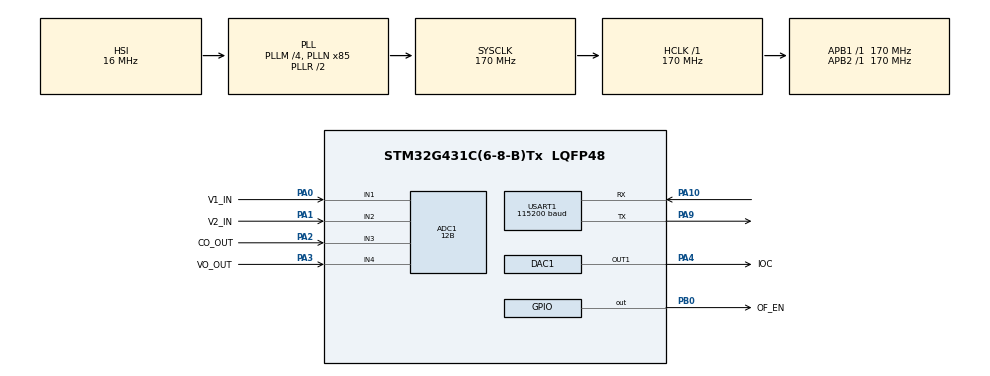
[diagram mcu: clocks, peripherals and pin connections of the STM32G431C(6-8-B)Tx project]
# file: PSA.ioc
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ADC1.Channel-0\#ChannelRegularConversion=ADC_CHANNEL_1
ADC1.Channel-1\#ChannelRegularConversion=ADC_CHANNEL_2
ADC1.Channel-2\#ChannelRegularConversion=ADC_CHANNEL_3
ADC1.Channel-3\#ChannelRegularConversion=ADC_CHANNEL_4
ADC1.Channel-4\#ChannelRegularConversion=ADC_CHANNEL_TEMPSENSOR_ADC1
ADC1.Channel-5\#ChannelRegularConversion=ADC_CHANNEL_VREFINT
ADC1.Channel-IN=ADC_CHANNEL_TEMPSENSOR_ADC1
ADC1.Channel-IN1=ADC_CHANNEL_1
ADC1.Channel-IN2=ADC_CHANNEL_2
ADC1.Channel-IN3=ADC_CHANNEL_3
ADC1.Channel-IN4=ADC_CHANNEL_4
ADC1.ChannelVREF=ADC_CHANNEL_VREFINT
ADC1.ClockPrescaler=ADC_CLOCK_ASYNC_DIV64
ADC1.ContinuousConvMode=ENABLE
ADC1.DMAContinuousRequests=ENABLE
ADC1.DataAlign=ADC_DATAALIGN_RIGHT
ADC1.DiscontinuousConvMode=DISABLE
ADC1.EOCSelection=ADC_EOC_SINGLE_CONV
ADC1.EnableAnalogWatchDog1=false
ADC1.EnableAnalogWatchDog2=false
ADC1.EnableAnalogWatchDog3=false
ADC1.EnableInjectedConversion=DISABLE
ADC1.EnableRegularConversion=ENABLE
ADC1.ExternalTrigConv=ADC_SOFTWARE_START
ADC1.ExternalTrigConvEdge=ADC_EXTERNALTRIGCONVEDGE_NONE
ADC1.GainCompensation=0
ADC1.LowPowerAutoWait=DISABLE
ADC1.Mode=ADC_MODE_INDEPENDENT
ADC1.NbrOfConversion=6
ADC1.OffsetNumber-0\#ChannelRegularConversion=ADC_OFFSET_NONE
ADC1.OffsetNumber-1\#ChannelRegularConversion=ADC_OFFSET_NONE
ADC1.OffsetNumber-2\#ChannelRegularConversion=ADC_OFFSET_NONE
ADC1.OffsetNumber-3\#ChannelRegularConversion=ADC_OFFSET_NONE
ADC1.OffsetNumber-4\#ChannelRegularConversion=ADC_OFFSET_NONE
ADC1.OffsetNumber-5\#ChannelRegularConversion=ADC_OFFSET_NONE
ADC1.Overrun=ADC_OVR_DATA_PRESERVED
ADC1.OversamplingMode=DISABLE
ADC1.Rank-0\#ChannelRegularConversion=1
ADC1.Rank-1\#ChannelRegularConversion=2
ADC1.Rank-2\#ChannelRegularConversion=3
ADC1.Rank-3\#ChannelRegularConversion=4
ADC1.Rank-4\#ChannelRegularConversion=5
ADC1.Rank-5\#ChannelRegularConversion=6
ADC1.Resolution=ADC_RESOLUTION_12B
ADC1.SamplingTime-0\#ChannelRegularConversion=ADC_SAMPLETIME_640CYCLES_5
ADC1.SamplingTime-1\#ChannelRegularConversion=ADC_SAMPLETIME_640CYCLES_5
ADC1.SamplingTime-2\#ChannelRegularConversion=ADC_SAMPLETIME_640CYCLES_5
ADC1.SamplingTime-3\#ChannelRegularConversion=ADC_SAMPLETIME_640CYCLES_5
ADC1.SamplingTime-4\#ChannelRegularConversion=ADC_SAMPLETIME_640CYCLES_5
ADC1.SamplingTime-5\#ChannelRegularConversion=ADC_SAMPLETIME_640CYCLES_5
ADC1.ScanConvMode=ADC_SCAN_ENABLE
ADC1.master=1
DAC1.DAC_HighFrequency_OUT1-DAC_OUT1=DAC_HIGH_FREQUENCY_INTERFACE_MODE_DISABLE
Dma.ADC1.0.Direction=DMA_PERIPH_TO_MEMORY
Dma.ADC1.0.EventEnable=DISABLE
Dma.ADC1.0.Instance=DMA1_Channel1
Dma.ADC1.0.MemDataAlignment=DMA_MDATAALIGN_HALFWORD
Dma.ADC1.0.MemInc=DMA_MINC_ENABLE
Dma.ADC1.0.Mode=DMA_CIRCULAR
Dma.ADC1.0.PeriphDataAlignment=DMA_PDATAALIGN_HALFWORD
Dma.ADC1.0.PeriphInc=DMA_PINC_DISABLE
Dma.ADC1.0.Polarity=HAL_DMAMUX_REQ_GEN_RISING
Dma.ADC1.0.Priority=DMA_PRIORITY_LOW
Dma.ADC1.0.RequestNumber=1
Dma.ADC1.0.SignalID=NONE
Dma.ADC1.0.SyncEnable=DISABLE
Dma.ADC1.0.SyncPolarity=HAL_DMAMUX_SYNC_NO_EVENT
Dma.ADC1.0.SyncRequestNumber=1
Dma.ADC1.0.SyncSignalID=NONE
Dma.Request0=ADC1
Dma.Request1=USART1_RX
Dma.Request2=USART1_TX
Dma.USART1_RX.1.Direction=DMA_PERIPH_TO_MEMORY
Dma.USART1_RX.1.EventEnable=DISABLE
Dma.USART1_RX.1.Instance=DMA1_Channel2
Dma.USART1_RX.1.MemDataAlignment=DMA_MDATAALIGN_BYTE
Dma.USART1_RX.1.MemInc=DMA_MINC_ENABLE
Dma.USART1_RX.1.Mode=DMA_NORMAL
Dma.USART1_RX.1.PeriphDataAlignment=DMA_PDATAALIGN_BYTE
Dma.USART1_RX.1.PeriphInc=DMA_PINC_DISABLE
Dma.USART1_RX.1.Polarity=HAL_DMAMUX_REQ_GEN_RISING
Dma.USART1_RX.1.Priority=DMA_PRIORITY_LOW
Dma.USART1_RX.1.RequestNumber=1
Dma.USART1_RX.1.SignalID=NONE
Dma.USART1_RX.1.SyncEnable=DISABLE
Dma.USART1_RX.1.SyncPolarity=HAL_DMAMUX_SYNC_NO_EVENT
Dma.USART1_RX.1.SyncRequestNumber=1
Dma.USART1_RX.1.SyncSignalID=NONE
Dma.USART1_TX.2.Direction=DMA_MEMORY_TO_PERIPH
Dma.USART1_TX.2.EventEnable=DISABLE
Dma.USART1_TX.2.Instance=DMA1_Channel3
Dma.USART1_TX.2.MemDataAlignment=DMA_MDATAALIGN_BYTE
Dma.USART1_TX.2.MemInc=DMA_MINC_ENABLE
Dma.USART1_TX.2.Mode=DMA_NORMAL
Dma.USART1_TX.2.PeriphDataAlignment=DMA_PDATAALIGN_BYTE
Dma.USART1_TX.2.PeriphInc=DMA_PINC_DISABLE
Dma.USART1_TX.2.Polarity=HAL_DMAMUX_REQ_GEN_RISING
Dma.USART1_TX.2.Priority=DMA_PRIORITY_LOW
Dma.USART1_TX.2.RequestNumber=1
Dma.USART1_TX.2.SignalID=NONE
Dma.USART1_TX.2.SyncEnable=DISABLE
Dma.USART1_TX.2.SyncPolarity=HAL_DMAMUX_SYNC_NO_EVENT
Dma.USART1_TX.2.SyncRequestNumber=1
Dma.USART1_TX.2.SyncSignalID=NONE
FREERTOS.Tasks01=defaultTask,24,128,StartDefaultTask,Default,NULL,Dynamic,NULL,NULL
FREERTOS.configCHECK_FOR_STACK_OVERFLOW=1
FREERTOS.configGENERATE_RUN_TIME_STATS=1
FREERTOS.configMAX_TASK_NAME_LEN=24
FREERTOS.configTOTAL_HEAP_SIZE=24576
Mcu.Family=STM32G4
Mcu.Name=STM32G431C(6-8-B)Tx
Mcu.Package=LQFP48
NVIC.ADC1_2_IRQn=true\:6\:0\:true\:false\:true\:true\:true\:true\:true
NVIC.DMA1_Channel1_IRQn=true\:5\:0\:false\:false\:true\:true\:false\:true\:true
NVIC.DMA1_Channel2_IRQn=true\:5\:0\:false\:false\:true\:true\:false\:true\:true
NVIC.DMA1_Channel3_IRQn=true\:5\:0\:false\:false\:true\:true\:false\:true\:true
NVIC.PriorityGroup=NVIC_PRIORITYGROUP_4
NVIC.TIM7_IRQn=true\:5\:0\:true\:false\:true\:true\:true\:true\:true
NVIC.USART1_IRQn=true\:5\:0\:false\:false\:true\:true\:true\:true\:true
PA0.GPIO_Label=V1_IN
PA0.Mode=IN1-Single-Ended
PA0.Signal=ADC1_IN1
PA1.GPIO_Label=V2_IN
PA1.Mode=IN2-Single-Ended
PA1.Signal=ADC1_IN2
PA10.Mode=Asynchronous
PA10.Signal=USART1_RX
PA13.Mode=Serial_Wire
PA13.Signal=SYS_JTMS-SWDIO
PA14.Mode=Serial_Wire
PA14.Signal=SYS_JTCK-SWCLK
PA2.GPIO_Label=CO_OUT
PA2.Mode=IN3-Single-Ended
PA2.Signal=ADC1_IN3
PA3.GPIO_Label=VO_OUT
PA3.Mode=IN4-Single-Ended
PA3.Signal=ADC1_IN4
PA4.GPIO_Label=IOC
PA4.Signal=COMP_DAC11_group
PA9.Mode=Asynchronous
PA9.Signal=USART1_TX
PB0.GPIO_Label=OF_EN
PB0.Signal=GPIO_Output
ProjectManager.HeapSize=0x800
ProjectManager.StackSize=0x1000
ProjectManager.TargetToolchain=MDK-ARM V5.32
RCC.ADC12Freq_Value=170000000
RCC.AHBFreq_Value=170000000
RCC.APB1Freq_Value=170000000
RCC.APB1TimFreq_Value=170000000
RCC.APB2Freq_Value=170000000
RCC.APB2TimFreq_Value=170000000
RCC.CortexFreq_Value=170000000
RCC.EXTERNAL_CLOCK_VALUE=12288000
RCC.FLatency=FLASH_LATENCY_4
RCC.HCLKFreq_Value=170000000
RCC.HSE_VALUE=8000000
RCC.HSI48_VALUE=48000000
RCC.HSI_VALUE=16000000
RCC.LSE_VALUE=32768
RCC.PLLM=RCC_PLLM_DIV4
RCC.PLLN=85
RCC.PWR_Regulator_Voltage_Scale=PWR_REGULATOR_VOLTAGE_SCALE1_BOOST
RCC.SYSCLKFreq_VALUE=170000000
RCC.SYSCLKSource=RCC_SYSCLKSOURCE_PLLCLK
RCC.USBFreq_Value=170000000
RCC.VCOOutputFreq_Value=340000000
SH.COMP_DAC11_group.0=DAC1_OUT1,DAC_OUT1
SYS.TrimmingMode=__NULL
SYS.VoltageScaling=SYSCFG_VREFBUF_VOLTAGE_SCALE1
TIM7.AutoReloadPreload=TIM_AUTORELOAD_PRELOAD_DISABLE
TIM7.CounterMode=TIM_COUNTERMODE_UP
TIM7.Dithering=Disable
TIM7.PeriodNoDither=17000-1
TIM7.Prescaler=5000-1
TIM7.TIM_MasterOutputTrigger=TIM_TRGO_RESET
USART1.AutoBaudRateEnableParam=UART_ADVFEATURE_AUTOBAUDRATE_DISABLE
USART1.BaudRate=115200
USART1.ClockPrescaler=PRESCALER_DIV1
USART1.DMADisableonRxErrorParam=ADVFEATURE_DMA_ENABLEONRXERROR
USART1.DataInvertParam=ADVFEATURE_DATAINV_DISABLE
USART1.FIFOMode=FIFOMODE_DISABLE
USART1.MSBFirstParam=ADVFEATURE_MSBFIRST_DISABLE
USART1.Mode=MODE_TX_RX
USART1.OneBitSampling=UART_ONE_BIT_SAMPLE_DISABLE
USART1.OverSampling=UART_OVERSAMPLING_16
USART1.OverrunDisableParam=ADVFEATURE_OVERRUN_ENABLE
USART1.Parity=PARITY_NONE
USART1.RXFIFOThreshold=RXFIFO_THRESHOLD_1EIGHTHFULL
USART1.RxPinLevelInvertParam=ADVFEATURE_RXINV_DISABLE
USART1.StopBits=STOPBITS_1
USART1.SwapParam=ADVFEATURE_SWAP_DISABLE
USART1.TXFIFOThreshold=TXFIFO_THRESHOLD_1EIGHTHFULL
USART1.TxPinLevelInvertParam=ADVFEATURE_TXINV_DISABLE
USART1.VirtualMode-Asynchronous=VM_ASYNC
USART1.WordLength=WORDLENGTH_8B
VP_ADC1_TempSens_Input.Mode=IN-TempSens
VP_FREERTOS_VS_CMSIS_V2.Mode=CMSIS_V2
VP_SYS_VS_DBSignals.Mode=DisableDeadBatterySignals
VP_TIM7_VS_ClockSourceINT.Mode=Enable_Timer
VREF+.Mode=InternalMode
VREF+.Signal=VREFBUF_OUT
board=custom

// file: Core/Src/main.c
/* USER CODE BEGIN Header */
/**
  ******************************************************************************
  * @file           : main.c
  * @brief          : Main program body
  ******************************************************************************
  * @attention
  *
  * Copyright (c) 2026 STMicroelectronics.
  * All rights reserved.
  *
  * This software is licensed under terms that can be found in the LICENSE file
  * in the root directory of this software component.
  * If no LICENSE file comes with this software, it is provided AS-IS.
  *
  ******************************************************************************
  */
/* USER CODE END Header */
#include "main.h"
#include "cmsis_os.h"
#include "adc.h"
#include "dac.h"
#include "dma.h"
#include "tim.h"
#include "usart.h"
#include "gpio.h"

/* USER CODE BEGIN Includes */
#include "uart_safe.h"
#include "adc_measure.h"
#include <stdio.h>
#include <string.h>
#include <stdint.h>
#include "dac_control.h"
#include "stm32g4xx_ll_adc.h"  // VREFINT_CAL_ADDR
/* USER CODE END Includes */

/* USER CODE BEGIN PV */

/* ============================================================================
 * 系统运行时状态 - 已迁移到 app_freertos.c
 * ============================================================================ */
/* 全局变量现在定义在 app_freertos.c 中 */

/* USER CODE END PV */

void SystemClock_Config(void);
void MX_FREERTOS_Init(void);

int main(void)
{

  /* MCU Configuration--------------------------------------------------------*/

  /* Reset of all peripherals, Initializes the Flash interface and the Systick. */
  HAL_Init();

  /* Configure the system clock */
  SystemClock_Config();

  /* Initialize all configured peripherals */
  MX_GPIO_Init();
  MX_DMA_Init();
  MX_ADC1_Init();
  MX_DAC1_Init();
  MX_TIM7_Init();
  MX_USART1_UART_Init();
  /* USER CODE BEGIN 2 */
  UART_Safe_Init(&huart1);
  HAL_GPIO_WritePin(OF_EN_GPIO_Port, OF_EN_Pin, GPIO_PIN_RESET);
  UART_Safe_Transmit("[System] UART safe driver online");

  /* 初始化高精度 ADC 采集与中值滤波处理模块 */
  if (Measure_Init(&hadc1) == HAL_OK)
  {
      UART_Safe_Transmit("[System] ADC measurement module online");
  }
  else
  {
      UART_Safe_Transmit("[System] ERROR: ADC measurement init failed");
  }

  /* 启动独立 DAC 控制组件，置初始为安全 0V 输出 (0.00A) */
  DAC_Control_Start(0U);
  UART_Safe_Transmit("[System] DAC1 Control module online (PA4, Init: 0.00A)");
  UART_Safe_Transmit("[System] Protection DISABLED for debug");

  /* 调试：打印 VREFINT 校准值 */
  char dbg_buf[64];
  snprintf(dbg_buf, sizeof(dbg_buf), "[System] VREFINT_CAL=%u (factory)", (unsigned int)*VREFINT_CAL_ADDR);
  UART_Safe_Transmit(dbg_buf);
#if LOG_LEVEL == 0U
  snprintf(dbg_buf, sizeof(dbg_buf), "[System] Report period=%u ms", (unsigned int)g_report_period_ms);
  UART_Safe_Transmit(dbg_buf);
#endif
  /* USER CODE END 2 */

  /* Init scheduler */
  osKernelInitialize();  /* Call init function for freertos objects (in cmsis_os2.c) */
  MX_FREERTOS_Init();

  /* Start scheduler */
  osKernelStart();

  /* We should never get here as control is now taken by the scheduler */
  for (;;)
  {
    /* We should never get here unless scheduler fails to start */
  }
  /* USER CODE END 2 */
}

void SystemClock_Config(void)
{
  RCC_OscInitTypeDef RCC_OscInitStruct = {0};
  RCC_ClkInitTypeDef RCC_ClkInitStruct = {0};

  /** Configure the main internal regulator output voltage
  */
  HAL_PWREx_ControlVoltageScaling(PWR_REGULATOR_VOLTAGE_SCALE1_BOOST);

  /** Initializes the RCC Oscillators according to the specified parameters
  * in the RCC_OscInitTypeDef structure.
  */
  RCC_OscInitStruct.OscillatorType = RCC_OSCILLATORTYPE_HSI;
  RCC_OscInitStruct.HSIState = RCC_HSI_ON;
  RCC_OscInitStruct.HSICalibrationValue = RCC_HSICALIBRATION_DEFAULT;
  RCC_OscInitStruct.PLL.PLLState = RCC_PLL_ON;
  RCC_OscInitStruct.PLL.PLLSource = RCC_PLLSOURCE_HSI;
  RCC_OscInitStruct.PLL.PLLM = RCC_PLLM_DIV4;
  RCC_OscInitStruct.PLL.PLLN = 85;
  RCC_OscInitStruct.PLL.PLLP = RCC_PLLP_DIV2;
  RCC_OscInitStruct.PLL.PLLQ = RCC_PLLQ_DIV2;
  RCC_OscInitStruct.PLL.PLLR = RCC_PLLR_DIV2;
  if (HAL_RCC_OscConfig(&RCC_OscInitStruct) != HAL_OK)
  {
    Error_Handler();
  }

  /** Initializes the CPU, AHB and APB buses clocks
  */
  RCC_ClkInitStruct.ClockType = RCC_CLOCKTYPE_HCLK|RCC_CLOCKTYPE_SYSCLK
                              |RCC_CLOCKTYPE_PCLK1|RCC_CLOCKTYPE_PCLK2;
  RCC_ClkInitStruct.SYSCLKSource = RCC_SYSCLKSOURCE_PLLCLK;
  RCC_ClkInitStruct.AHBCLKDivider = RCC_SYSCLK_DIV1;
  RCC_ClkInitStruct.APB1CLKDivider = RCC_HCLK_DIV1;
  RCC_ClkInitStruct.APB2CLKDivider = RCC_HCLK_DIV1;

  if (HAL_RCC_ClockConfig(&RCC_ClkInitStruct, FLASH_LATENCY_4) != HAL_OK)
  {
    Error_Handler();
  }
}

void Error_Handler(void)
{
  __disable_irq();
  while (1)
  {
  }
}

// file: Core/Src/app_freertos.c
/* USER CODE BEGIN Header */
/**
  ******************************************************************************
  * @file           : app_freertos.c
  * @description    : FreeRTOS application - 任务迁移自裸机 main.c
  ******************************************************************************
  * @attention
  *
  * Copyright (c) 2026 STMicroelectronics.
  * All rights reserved.
  *
  * This software is licensed under terms that can be found in the LICENSE file
  * in the root directory of this software component.
  * If no LICENSE file comes with this software, it is provided AS-IS.
  *
  ******************************************************************************
  */
/* USER CODE END Header */

#include "FreeRTOS.h"
#include "task.h"
#include "main.h"
#include "cmsis_os.h"
#include "usart.h"
#include "adc.h"
#include "dac.h"

/* USER CODE BEGIN Includes */
#include "uart_safe.h"
#include "adc_measure.h"
#include "dac_control.h"
#include <stdio.h>
#include <string.h>
/* USER CODE END Includes */

/* USER CODE BEGIN Variables */

/* ============================================================================
 * 全局运行时状态（从 main.c 迁移）
 * ============================================================================ */
volatile uint16_t g_report_period_ms = MEASURE_REPORT_PERIOD_MS;
volatile uint8_t  g_protection_enabled = 0U;  /* 保护已禁用:0 / 已启用:1 */

/* ============================================================================
 * FreeRTOS 内核对象定义
 * ============================================================================ */
osThreadId_t Task_UART_Handle;
osThreadId_t Task_Measure_Handle;
osThreadId_t Task_Report_Handle;
osThreadId_t Task_Heartbeat_Handle;

/* USER CODE END Variables */

/* USER CODE BEGIN FunctionPrototypes */
void Task_UART(void *argument);
void Task_Measure(void *argument);
void Task_Report(void *argument);
void Task_Heartbeat(void *argument);
/* USER CODE END FunctionPrototypes */

/* Hook prototypes */
void configureTimerForRunTimeStats(void);
unsigned long getRunTimeCounterValue(void);
void vApplicationStackOverflowHook(xTaskHandle xTask, signed char *pcTaskName);

/* USER CODE BEGIN 1 */
/* Functions needed when configGENERATE_RUN_TIME_STATS is on */
__weak void configureTimerForRunTimeStats(void)
{
  /* 如果需要运行时间统计，在此配置硬件定时器 */
}

__weak unsigned long getRunTimeCounterValue(void)
{
  return 0;
}
/* USER CODE END 1 */

/* USER CODE BEGIN 4 */
void vApplicationStackOverflowHook(xTaskHandle xTask, signed char *pcTaskName)
{
  /* Run time stack overflow checking is performed if
     configCHECK_FOR_STACK_OVERFLOW is defined to 1 or 2. */
  (void)xTask;
  (void)pcTaskName;
}
/* USER CODE END 4 */

void MX_FREERTOS_Init(void)
{

  /* USER CODE BEGIN RTOS_THREADS */
  /* 创建任务 - 优先级从高到低 */

  /* Task_UART: 高优先级，UART 命令处理（事件驱动） */
  osThreadAttr_t uart_task_attr = {
    .name = "Task_UART",
    .priority = osPriorityHigh,      /* 优先级 4 */
    .stack_size = 256 * 4           /* 256 Words = 1KB */
  };
  Task_UART_Handle = osThreadNew(Task_UART, NULL, &uart_task_attr);

  /* Task_Measure: 中高优先级，ADC 采样 + DAC 控制 */
  osThreadAttr_t measure_task_attr = {
    .name = "Task_Measure",
    .priority = osPriorityAboveNormal,  /* 优先级 3 */
    .stack_size = 256 * 4
  };
  Task_Measure_Handle = osThreadNew(Task_Measure, NULL, &measure_task_attr);

  /* Task_Report: 中优先级，数据上报 */
  osThreadAttr_t report_task_attr = {
    .name = "Task_Report",
    .priority = osPriorityNormal,      /* 优先级 2 */
    .stack_size = 256 * 4
  };
  Task_Report_Handle = osThreadNew(Task_Report, NULL, &report_task_attr);

  /* Task_Heartbeat: 低优先级，心跳灯 + 系统诊断 */
  osThreadAttr_t heartbeat_task_attr = {
    .name = "Task_Heartbeat",
    .priority = osPriorityBelowNormal,  /* 优先级 1 */
    .stack_size = 128 * 4               /* 128 Words = 512B */
  };
  Task_Heartbeat_Handle = osThreadNew(Task_Heartbeat, NULL, &heartbeat_task_attr);

  /* USER CODE END RTOS_THREADS */

}

/* USER CODE BEGIN Header_Task_UART */
/**
  * @brief  UART 命令处理任务（从裸机代码迁移）
  * @param  argument: Not used
  * @retval None
  * @note   优先级最高，持续轮询 UART 命令
  */
/* USER CODE END Header_Task_UART */
void Task_UART(void *argument)
{
  /* USER CODE BEGIN Task_UART */
  (void)argument;

  for(;;)
  {
    /* 高实时性命令轮询（无延时，全速运行） */
    Process_UART_Commands();

    /* 让出 CPU，但立即重新调度（高优先级保证及时响应） */
    osDelay(1);  /* 1ms 延时 */
  }
  /* USER CODE END Task_UART */
}

/* USER CODE BEGIN Header_Task_Measure */
/**
  * @brief  ADC 测量与 DAC 控制任务（从裸机代码迁移）
  * @param  argument: Not used
  * @retval None
  * @note   100ms 周期任务
  */
/* USER CODE END Header_Task_Measure */
void Task_Measure(void *argument)
{
  /* USER CODE BEGIN Task_Measure */
  (void)argument;

  for(;;)
  {
    /* DAC 持续输出设定电流 */
    DAC_Control_SetPfcCurrent(DAC_Control_GetPfcTargetCurrent());

    /* 延时 100ms */
    osDelay(100);
  }
  /* USER CODE END Task_Measure */
}

/* USER CODE BEGIN Header_Task_Report */
/**
  * @brief  数据上报任务（从裸机代码迁移）
  * @param  argument: Not used
  * @retval None
  * @note   动态周期上报（g_report_period_ms）
  */
/* USER CODE END Header_Task_Report */
void Task_Report(void *argument)
{
  /* USER CODE BEGIN Task_Report */
  (void)argument;

  for(;;)
  {
    /* 等待 g_report_period_ms（可通过命令动态修改） */
    osDelay(g_report_period_ms);

    /* 检查数据有效性 */
    if (Measure_IsDataValid() != 0U)
    {
      const Measure_Data_t *p_data = Measure_GetDataPtr();
      char log_buf[128];

#if LOG_LEVEL == 0U  /* DEBUG 模式: 输出完整信息 */
      snprintf(log_buf, sizeof(log_buf),
               "[Measure] V1:%.2fV V2:%.2fV CO:%.2fA VO:%.2fV T:%.1fC Vref:%.3fV",
               p_data->v1_in,
               p_data->v2_in,
               p_data->co_out,
               p_data->vo_out,
               p_data->temp_c,
               p_data->vref_plus);
      UART_Safe_Transmit(log_buf);

#if SHOW_ADC_RAW_DATA
      snprintf(log_buf, sizeof(log_buf),
               "[Raw] %u %u %u %u %u %u",
               p_data->filtered_raw[ADC_CH_INDEX_V1_IN],
               p_data->filtered_raw[ADC_CH_INDEX_V2_IN],
               p_data->filtered_raw[ADC_CH_INDEX_CO_OUT],
               p_data->filtered_raw[ADC_CH_INDEX_VO_OUT],
               p_data->filtered_raw[ADC_CH_INDEX_TEMP_SENSOR],
               p_data->filtered_raw[ADC_CH_INDEX_VREFINT]);
      UART_Safe_Transmit(log_buf);
#endif

#elif LOG_LEVEL == 1U  /* INFO 模式: 仅输出物理量 */
      snprintf(log_buf, sizeof(log_buf),
               "[M] %.1fV %.1fV %.2fA %.1fV %.1fC",
               p_data->v1_in,
               p_data->v2_in,
               p_data->co_out,
               p_data->vo_out,
               p_data->temp_c);
      UART_Safe_Transmit(log_buf);

#elif LOG_LEVEL == 2U  /* WARN 模式: 无自动输出 */
      (void)p_data;
#endif
    }
  }
  /* USER CODE END Task_Report */
}

/* USER CODE BEGIN Header_Task_Heartbeat */
/**
  * @brief  心跳灯 + 系统诊断任务（从裸机代码迁移）
  * @param  argument: Not used
  * @retval None
  * @note   1000ms 周期任务，优先级最低
  */
/* USER CODE END Header_Task_Heartbeat */
void Task_Heartbeat(void *argument)
{
  /* USER CODE BEGIN Task_Heartbeat */
  (void)argument;

  for(;;)
  {
#if HEARTBEAT_PERIOD_MS > 0
    HAL_GPIO_TogglePin(GPIOB, GPIO_PIN_5);  /* 心跳灯 PB5 */
#endif

#if LOG_LEVEL <= 1U
    /* 每秒输出系统状态摘要 */
    char stat_buf[64];
    snprintf(stat_buf, sizeof(stat_buf),
             "[Sys] BufUse:%u%% DAC:%.2fA",
             UART_Safe_GetBufferUsage(),
             DAC_Control_GetPfcTargetCurrent());
    UART_Safe_Transmit(stat_buf);
#endif

    osDelay(1000);
  }
  /* USER CODE END Task_Heartbeat */
}
